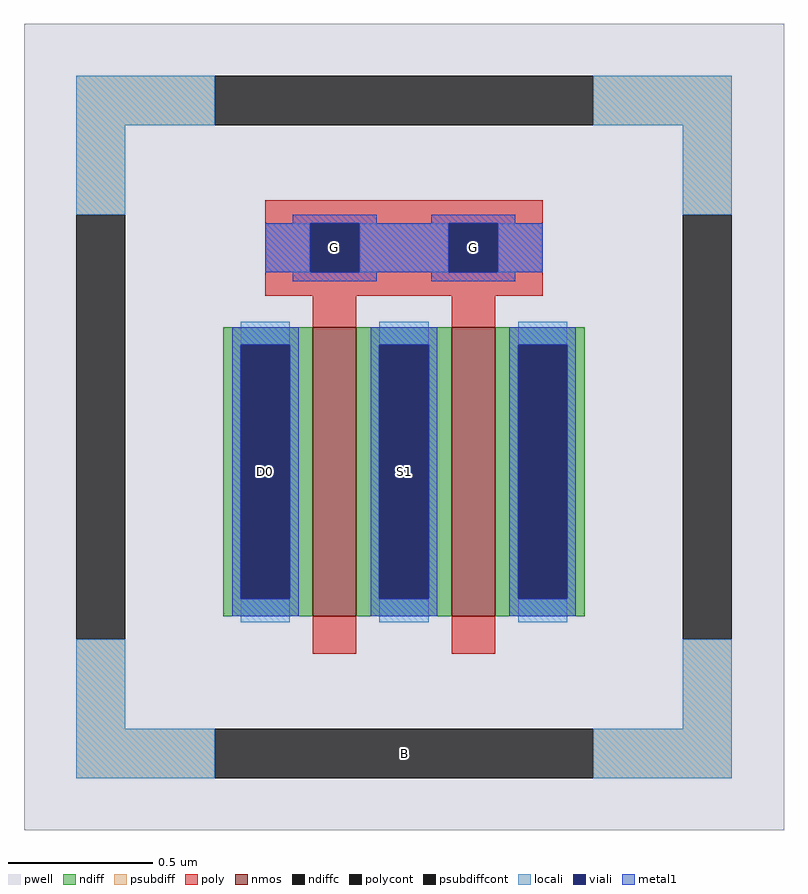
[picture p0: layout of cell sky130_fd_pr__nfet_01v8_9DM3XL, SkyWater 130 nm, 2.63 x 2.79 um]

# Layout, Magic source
magic
tech sky130A
magscale 1 2
<< pwell >>
rect -263 -279 263 279
<< nmos >>
rect -63 -131 -33 69
rect 33 -131 63 69
<< ndiff >>
rect -125 57 -63 69
rect -125 -119 -113 57
rect -79 -119 -63 57
rect -125 -131 -63 -119
rect -33 57 33 69
rect -33 -119 -17 57
rect 17 -119 33 57
rect -33 -131 33 -119
rect 63 57 125 69
rect 63 -119 79 57
rect 113 -119 125 57
rect 63 -131 125 -119
<< ndiffc >>
rect -113 -119 -79 57
rect -17 -119 17 57
rect 79 -119 113 57
<< psubdiff >>
rect -227 209 -131 243
rect 131 209 227 243
rect -227 147 -193 209
rect 193 147 227 209
rect -227 -209 -193 -147
rect 193 -209 227 -147
rect -227 -243 -131 -209
rect 131 -243 227 -209
<< psubdiffcont >>
rect -131 209 131 243
rect -227 -147 -193 147
rect 193 -147 227 147
rect -131 -243 131 -209
<< poly >>
rect -96 141 96 157
rect -96 107 -65 141
rect -31 107 31 141
rect 65 107 96 141
rect -96 91 96 107
rect -63 69 -33 91
rect 33 69 63 91
rect -63 -157 -33 -131
rect 33 -157 63 -131
<< polycont >>
rect -65 107 -31 141
rect 31 107 65 141
<< locali >>
rect -227 209 -131 243
rect 131 209 227 243
rect -227 147 -193 209
rect 193 147 227 209
rect -96 107 -65 141
rect -31 107 31 141
rect 65 107 96 141
rect -113 57 -79 73
rect -113 -135 -79 -119
rect -17 57 17 73
rect -17 -135 17 -119
rect 79 57 113 73
rect 79 -135 113 -119
rect -227 -209 -193 -147
rect 193 -209 227 -147
rect -227 -243 -131 -209
rect 131 -243 227 -209
<< viali >>
rect -65 107 -31 141
rect 31 107 65 141
rect -113 -119 -79 57
rect -17 -119 17 57
rect 79 -119 113 57
<< metal1 >>
rect -77 141 -19 147
rect 19 141 77 147
rect -96 107 -65 141
rect -31 107 31 141
rect 65 107 96 141
rect -77 101 -19 107
rect 19 101 77 107
rect -119 57 -73 69
rect -119 -119 -113 57
rect -79 -119 -73 57
rect -119 -131 -73 -119
rect -23 57 23 69
rect -23 -119 -17 57
rect 17 -119 23 57
rect -23 -131 23 -119
rect 73 57 119 69
rect 73 -119 79 57
rect 113 -119 119 57
rect 73 -131 119 -119
<< labels >>
rlabel psubdiffcont 0 -226 0 -226 0 B
port 1 nsew
rlabel ndiffc -96 -31 -96 -31 0 D0
port 2 nsew
rlabel polycont -48 124 -48 124 0 G
port 3 nsew
rlabel ndiffc 0 -31 0 -31 0 S1
port 4 nsew
rlabel polycont 48 124 48 124 0 G
port 3 nsew
<< properties >>
string FIXED_BBOX -210 -226 210 226
string gencell sky130_fd_pr__nfet_01v8
string library sky130
string parameters w 1 l 0.150 m 1 nf 2 diffcov 100 polycov 100 guard 1 glc 1 grc 1 gtc 1 gbc 1 tbcov 100 rlcov 100 topc 1 botc 0 poverlap 0 doverlap 1 lmin 0.15 wmin 0.42 class mosfet compatible {sky130_fd_pr__nfet_01v8 sky130_fd_pr__nfet_01v8_lvt  sky130_fd_bs_flash__special_sonosfet_star  sky130_fd_pr__nfet_g5v0d10v5 sky130_fd_pr__nfet_05v0_nvt  sky130_fd_pr__nfet_03v3_nvt} full_metal 1 conn_gates 1 viasrc 100 viadrn 100 viagate 100 viagb 0 viagr 0 viagl 0 viagt 0 doports 1
<< end >>
